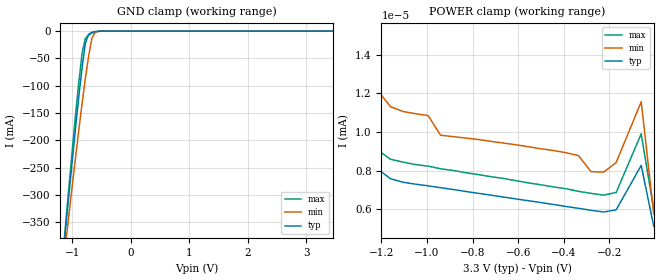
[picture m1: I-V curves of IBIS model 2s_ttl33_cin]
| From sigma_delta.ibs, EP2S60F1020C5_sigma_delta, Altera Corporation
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[Model] 2s_ttl33_cin
Model_type Input
Vinl  = 0.8
Vinh  = 1.7
C_comp  3.00pF  NA  NA
[Temperature Range]  25.000   85.000   0.000
[Voltage Range]   3.300   3.135   3.465
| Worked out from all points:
|   GND clamp passes 1 mA (typ) near -0.62 V on its own axis
[GND_Clamp]
| voltage   I(typ)   I(min)   I(max)
-3.3V     -2.907A    -2.551A    -3.109A
-1.16V    -416.6mA   -435.9mA   -412.4mA
-1.105V   -355mA     -383.5mA   -345.6mA
-1.05V    -294mA     -331.6mA   -279.5mA
-940mV    -175.2mA   -229.6mA   -151.6mA
-830mV    -67.05mA   -132.2mA   -40.56mA
-775mV    -22.77mA   -87.29mA   -13.36mA
-720mV    -6.04mA    -47.16mA   -7.238mA
-665mV    -2.278mA   -13.9mA    -4.022mA
-610mV    -835.8uA   -2.708mA   -1.836mA
-500mV    -67.54uA   -125.9uA   -161.4uA
3.455V    6.512nA    8.847nA    5.536nA
[POWER_Clamp]
|voltage   I(typ)   I(min)   I(max)
-3.3V     144.2uA    77.94uA    202.6uA
-1.325V   16.39nA    21.4nA     18.63nA
-1.27V    9.935nA    14.61nA    11.01nA
-1.215V   8.077nA    12.12nA    9.049nA
-1.16V    7.575nA    11.31nA    8.586nA
-995mV    7.208nA    10.85nA    8.227nA
-940mV    7.111nA    9.826nA    8.09nA
-390mV    6.14nA     8.923nA    7.059nA
-225mV    5.853nA    7.919nA    6.727nA
-170mV    5.966nA    8.408nA    6.863nA
-60mV     8.262nA    11.56nA    9.899nA
-5mV      5.113nA    5.759nA    5.979nA
